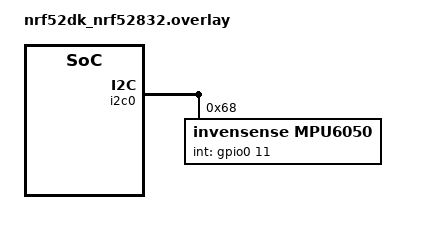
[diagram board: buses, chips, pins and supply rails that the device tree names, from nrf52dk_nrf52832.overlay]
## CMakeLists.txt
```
# SPDX-License-Identifier: Apache-2.0

cmake_minimum_required(VERSION 3.13.1)
set(DTC_OVERLAY_FILE "nrf52dk_nrf52832.overlay")
find_package(Zephyr REQUIRED HINTS $ENV{ZEPHYR_BASE})
project(mpu6250_sample)

zephyr_library_sources_ifdef(CONFIG_MPU6050 mpu6050.c)
zephyr_library_sources_ifdef(CONFIG_MPU6050_TRIGGER mpu6050_trigger.c)
FILE(GLOB app_sources src/*.c)
target_sources(app PRIVATE src/main.c
    src/I2C.c
    src/bluetooth.c)
```

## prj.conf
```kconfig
# Drivers and peripherals
CONFIG_I2C=y
CONFIG_GPIO=y
CONFIG_PRINTK=y
CONFIG_CBPRINTF_FP_SUPPORT=y
CONFIG_MPU6050=y
CONFIG_BT=y
CONFIG_BT_PERIPHERAL=y

CONFIG_BT_DEVICE_NAME="LED BT"
```

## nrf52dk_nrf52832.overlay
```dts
/*
 * Copyright (c) 2019 Nordic Semiconductor ASA
 *
 * SPDX-License-Identifier: Apache-2.0
 */

/ {	
	soc {
		i2c0: arduino_i2c: i2c@40003000  {
			node: mpu6050@68 {
			compatible = "invensense,mpu6050";
			reg = <0x68>;
			status = "okay";
			label = "MPU6050";
			int-gpios = <&gpio0 11 GPIO_ACTIVE_HIGH>;
			};
		};
	};
	aliases {
		mpusensor = &node;
	};

};
```

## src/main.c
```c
/*
 * Copyright (c) 2019 Nordic Semiconductor ASA
 *
 * SPDX-License-Identifier: Apache-2.0
 */

#include <zephyr.h>
#include <sys/printk.h>
#include <stdio.h>
#include <stdlib.h>
#include <drivers/i2c.h>
#include <bluetooth/bluetooth.h>
#include <bluetooth/hci.h>
#include <bluetooth/conn.h>
#include <bluetooth/uuid.h>
#include <bluetooth/gatt.h>
#include <zephyr/types.h>
#include <settings/settings.h>
#include <stddef.h>
#include <string.h>
#include <errno.h>
#include <sys/byteorder.h>
#include <soc.h>
#include "I2C.h"
#include "bluetooth.h"
#define DEVICE_NAME     CONFIG_BT_DEVICE_NAME
#define DEVICE_NAME_LENGTH     (sizeof(DEVICE_NAME) -1)

static const struct bt_data ad[] = {
	BT_DATA_BYTES(BT_DATA_FLAGS, (BT_LE_AD_GENERAL | BT_LE_AD_NO_BREDR)),
	BT_DATA(BT_DATA_NAME_COMPLETE, DEVICE_NAME, DEVICE_NAME_LENGTH),
};

static const struct bt_data sd[] = {
	BT_DATA_BYTES(BT_DATA_UUID128_ALL, BT_UUID_I2C_VAL),
};

const struct device *mpu6050;
int8_t data[14];


static void connected(struct bt_conn *conn, uint8_t err)
{
	if (err) {
		printk("Connection failed (err %u)\n", err);
		return;
	}

	printk("Connected\n");

}

static void disconnected(struct bt_conn *conn, uint8_t reason)
{
	printk("Disconnected (reason %u)\n", reason);

}
static struct bt_conn_cb conn_callbacks = {
	.connected        = connected,
	.disconnected     = disconnected,
};


static int8_t app_i2c_cb(void)
{
	return data;
}

static struct bt_i2cService_cb i2c_callbacs = {
	.i2c_cb    = app_i2c_cb,
};

void main(void)
{
  struct i2cData sensorData;  
  mpu6050 = device_get_binding("I2C_0");

  if (!mpu6050) {
    printf("Failed to find sensor I2C\n");
    return;
  }
  else
    init_mpu(mpu6050);
  
	int err;
  bt_conn_cb_register(&conn_callbacks);

    err = bt_enable(NULL);
    if (err) {
      printk("Bluetooth init failed (err %d)\n", err);
      return;
    }

    printk("Bluetooth initialized\n");

    if (IS_ENABLED(CONFIG_SETTINGS)) {
      settings_load();
    }

    err = bt_i2cService_init(&i2c_callbacs);
    if (err) {
      printk("Failed to init LBS (err:%d)\n", err);
      return;
    }

    err = bt_le_adv_start(BT_LE_ADV_CONN, ad, ARRAY_SIZE(ad),
              sd, ARRAY_SIZE(sd));
    if (err) {
      printk("Advertising failed to start (err %d)\n", err);
      return;
    }

    printk("Advertising successfully started\n");


  while(1){
    data = input_read(&sensorData, mpu6050);
    printf("Data: %f Cel\n"
      "  accel % f % f % f m/s/s\n"
      "  gyro  % f % f % f rad/s\n",
      sensorData.Temp,
      sensorData.AcX,
      sensorData.AcY,
      sensorData.AcZ,
      sensorData.GyX,
      sensorData.GyY,
      sensorData.GyZ);
     k_sleep(K_SECONDS(2));
  }
}
```

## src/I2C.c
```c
#include <sys/printk.h>
#include <zephyr.h>
#include <zephyr/types.h>
#include <drivers/i2c.h>

#include "I2C.h"

int8_t input_read(i2cData *sensorData, const struct device *mpu6050){
  int8_t data[14]; // Buffer to transmit data in I2C protocol
  data[0] = 0x3B; // Starting with register 0x3B (ACCEL_XOUT_H)
 
  i2c_write(mpu6050, data, 1, MPU_addr);  
  i2c_read(mpu6050, data, 14, MPU_addr);

  sensorData->AcX = ((double)data[0])+((double)(data[1]) / 1000000); // 0x3B (ACCEL_XOUT_H) & 0x3C (ACCEL_XOUT_L)
  sensorData->AcY = ((double)data[2])+((double)(data[3]) / 1000000); // 0x3D (ACCEL_YOUT_H) & 0x3E (ACCEL_YOUT
  sensorData->AcZ = ((double)data[4])+((double)(data[5]) / 1000000); // 0x3F (ACCEL_ZOUT_H) & 0x40 (ACCEL_ZOUT_L)
  sensorData->Temp = (((((double)data[6])+((double)(data[7]) / 1000000)) + 521 ) + (35 * 340)) / 340; // 0x41 (TEMP_OUT_H) & 0x42 (TEMP_OUT_L)
  sensorData->GyX = ((double)data[8])+((double)(data[9]) / 1000000); // 0x43 (GYRO_XOUT_H) & 0x44 (GYRO_XOUT_L)
  sensorData->GyY = ((double)data[10])+((double)(data[11]) / 1000000); // 0x45 (GYRO_YOUT_H) & 0x46 (GYRO_YOUT_L)
  sensorData->GyZ = ((double)data[12])+((double)(data[13]) / 1000000); // 0x47 (GYRO_ZOUT_H) & 0x48 (GYRO_ZOUT_L)
  return data;
}
//Function created to initialize the communitaction I2C between the board and MPU-6050 
void init_mpu(const struct device *mpu6050){
  uint8_t data[2];
  data[0] = 0x6B; // PWR_MGMT_1 register
  data[1] = 0x00; // Wakes up the MPU-6050
  i2c_write(mpu6050, data, 2, MPU_addr);
}
```

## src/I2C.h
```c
#include <zephyr/types.h>
#define MPU_addr 0x68 //I2C address of the MPU-6050


//I2C structure
typedef struct  i2cData {
  float AcX;
  float AcY;
  float AcZ;
  float GyX;
  float GyY;
  float GyZ;
  float Temp;
  }i2cData;

  int8_t input_read(i2cData *sensorData, const struct device *mpu6050);
  void init_mpu(const struct device *mpu6050);
```

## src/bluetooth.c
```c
#include <sys/printk.h>
#include <zephyr.h>
#include <zephyr/types.h>

#include "bluetooth.h"
#include <bluetooth/bluetooth.h>
#include <bluetooth/hci.h>
#include <bluetooth/conn.h>
#include <bluetooth/uuid.h>
#include <bluetooth/gatt.h>

static struct bt_i2cService_cb i2cService_cb;
int8_t data[14];

static ssize_t read_button(struct bt_conn *conn,
			  const struct bt_gatt_attr *attr,
			  void *buf,
			  uint16_t len,
			  uint16_t offset)
{
	const char *value = attr->user_data;

	LOG_DBG("Attribute read, handle: %u, conn: %p", attr->handle, conn);

	if (i2cService_cb.i2c_cb) {
		data = i2cService_cb.i2c_cb();
		return bt_gatt_attr_read(conn, attr, buf, len, offset, value,
					 sizeof(*value));
	}

	return 0;
}

BT_GATT_SERVICE_DEFINE(i2c_svc,
	BT_GATT_PRIMARY_SERVICE(BT_UUID_ESS),
	BT_GATT_CHARACTERISTIC(BT_UUID_I2C,
			       BT_GATT_CHRC_NOTIFY,
			       BT_GATT_PERM_READ, read_button, NULL,
			       &data),
);

int bt_lbs_init(struct bt_i2cService_cb *callbacks)
{
	if (callbacks) {
		i2cService_cb.i2c_cb = callbacks->i2c_cb;
	}

	return 0;
}
```
